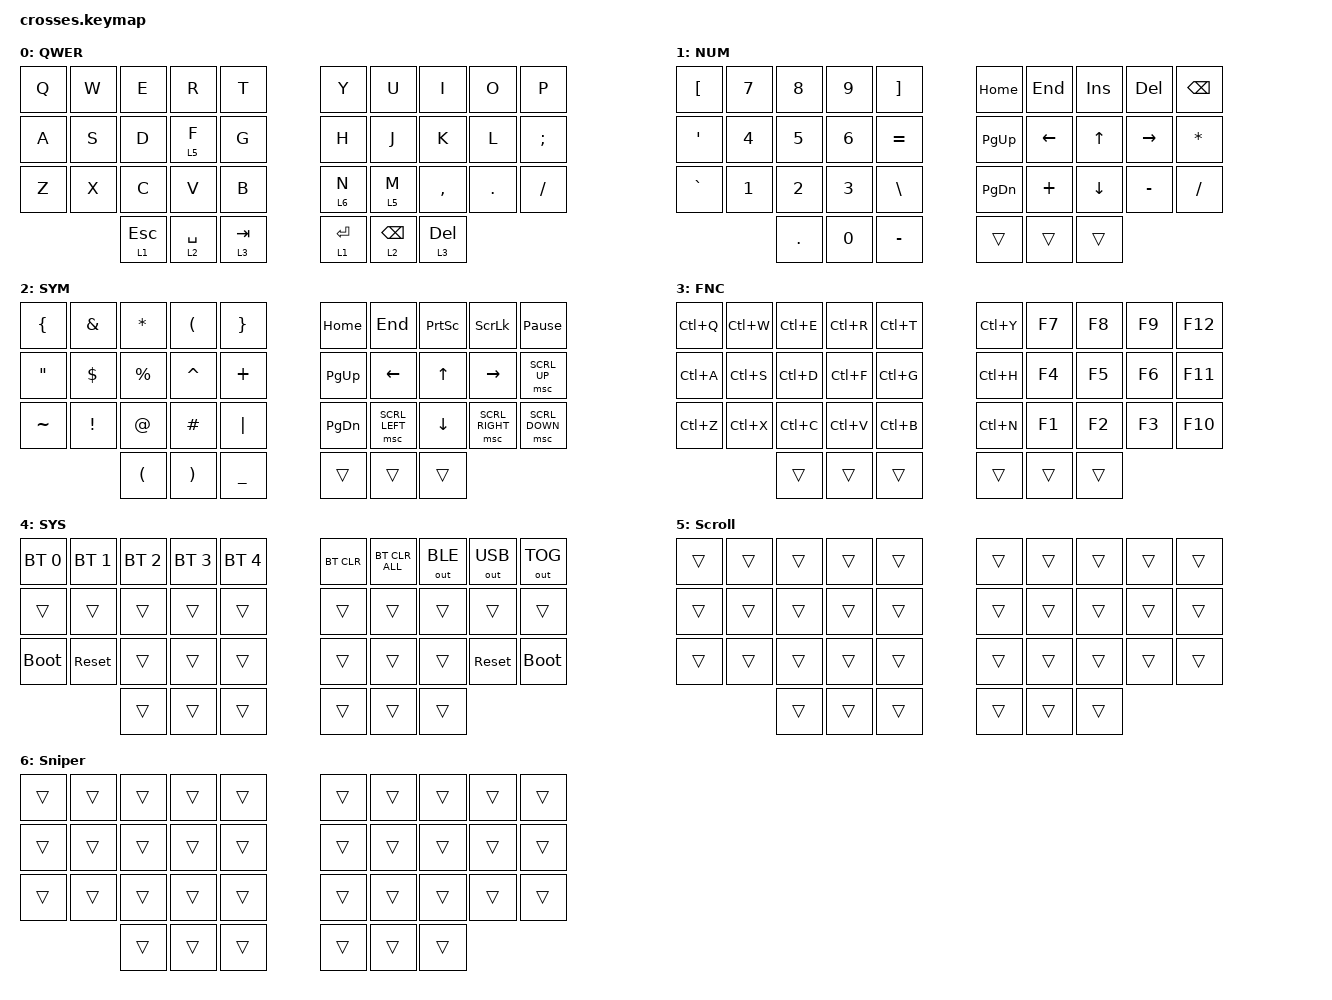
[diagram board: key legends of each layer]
#include <behaviors.dtsi>
#include <dt-bindings/zmk/bt.h>
#include <dt-bindings/zmk/keys.h>
#include <dt-bindings/zmk/outputs.h>
#include <dt-bindings/zmk/pointing.h>

&lt {
    tapping-term-ms = <200>;
    flavor = "tap-preferred";
    quick-tap-ms = <180>;
};

/ {
    combos {
        compatible = "zmk,combos";

        combo_lshft {
            bindings = <&kp LSHFT>;
            key-positions = <13 12>;
            layers = <0 1 2 3>;
            slow-release;
            timeout-ms = <50>;
            require-prior-idle-ms = <100>;
        };

        combo_lctrl {
            bindings = <&kp LCTRL>;
            key-positions = <12 11>;
            layers = <0 1 2 3>;
            slow-release;
            timeout-ms = <50>;
            require-prior-idle-ms = <100>;
        };

        combo_lalt {
            bindings = <&kp LALT>;
            key-positions = <11 10>;
            layers = <0 1 2 3>;
            slow-release;
            timeout-ms = <50>;
            require-prior-idle-ms = <100>;
        };

        combo_lgui {
            bindings = <&kp LWIN>;
            key-positions = <14 13>;
            layers = <0 1 2 3>;
            slow-release;
            timeout-ms = <50>;
            require-prior-idle-ms = <100>;
        };

        combo_lshft_lctrl {
            bindings = <&kp LS(LCTRL)>;
            key-positions = <11 13 12>;
            layers = <0 1 2 3>;
            slow-release;
            timeout-ms = <50>;
            require-prior-idle-ms = <100>;
        };

        combo_lctrl_lalt {
            bindings = <&kp LC(LALT)>;
            key-positions = <11 10 12>;
            layers = <0 1 2 3>;
            slow-release;
            timeout-ms = <50>;
            require-prior-idle-ms = <100>;
        };

        combo_lshft_lalt {
            bindings = <&kp LS(LALT)>;
            key-positions = <10 13 12>;
            layers = <0 1 2 3>;
            slow-release;
            timeout-ms = <50>;
            require-prior-idle-ms = <100>;
        };

        combo_lctrl_lgui {
            bindings = <&kp LC(LWIN)>;
            key-positions = <10 13 12 11>;
            slow-release;
            layers = <0 1 2 3>;
            timeout-ms = <50>;
            require-prior-idle-ms = <100>;
        };

        combo_rshft {
            bindings = <&kp RSHFT>;
            key-positions = <16 17>;
            slow-release;
            layers = <0 1 2 3>;
            timeout-ms = <50>;
            require-prior-idle-ms = <100>;
        };

        combo_rctrl {
            bindings = <&kp LCTRL>;
            key-positions = <17 18>;
            slow-release;
            layers = <0 1 2 3>;
            timeout-ms = <50>;
            require-prior-idle-ms = <100>;
        };

        combo_ralt {
            bindings = <&kp LALT>;
            key-positions = <18 19>;
            slow-release;
            layers = <0 1 2 3>;
            timeout-ms = <50>;
            require-prior-idle-ms = <100>;
        };

        combo_rgui {
            bindings = <&kp RWIN>;
            key-positions = <15 16>;
            slow-release;
            layers = <0 1 2 3>;
            timeout-ms = <50>;
            require-prior-idle-ms = <100>;
        };

        combo_rshft_rctrl {
            bindings = <&kp RS(LCTRL)>;
            key-positions = <16 17 18>;
            layers = <0 1 2 3>;
            timeout-ms = <50>;
            require-prior-idle-ms = <100>;
        };

        combo_rctrl_ralt {
            bindings = <&kp LC(LALT)>;
            key-positions = <19 18 17>;
            slow-release;
            layers = <0 1 2 3>;
            timeout-ms = <50>;
            require-prior-idle-ms = <100>;
        };

        combo_rshft_ralt {
            bindings = <&kp RS(LALT)>;
            key-positions = <16 17 19>;
            slow-release;
            layers = <0 1 2 3>;
            timeout-ms = <50>;
            require-prior-idle-ms = <100>;
        };

        combo_rctrl_rwin {
            bindings = <&kp LC(RWIN)>;
            key-positions = <16 17 18 19>;
            slow-release;
            layers = <0 1 2 3>;
            timeout-ms = <50>;
            require-prior-idle-ms = <100>;
        };

        combo_kr_en {
            bindings = <&kp RALT>;
            key-positions = <16 18>;
            layers = <0 1 2 3>;
            timeout-ms = <50>;
            require-prior-idle-ms = <100>;
        };

        combo_hanja {
            bindings = <&kp RCTRL>;
            key-positions = <17 19>;
            layers = <0 1 2 3>;
            timeout-ms = <50>;
            require-prior-idle-ms = <100>;
        };

        combo_prev {
            bindings = <&mkp MB4>;
            key-positions = <15 25>;
            layers = <0 1 2 3>;
            timeout-ms = <50>;
            require-prior-idle-ms = <100>;
        };

        combo_next {
            bindings = <&mkp MB5>;
            key-positions = <16 26>;
            layers = <0 1 2 3>;
            timeout-ms = <50>;
            require-prior-idle-ms = <100>;
        };

        combo_undo {
            bindings = <&kp LC(Z)>;
            key-positions = <20 21>;
            layers = <0 1 2 3>;
            timeout-ms = <50>;
            require-prior-idle-ms = <100>;
        };

        combo_copy {
            bindings = <&kp LC(C)>;
            key-positions = <21 21 22>;
            layers = <0 1 2 3>;
            timeout-ms = <50>;
            require-prior-idle-ms = <100>;
        };

        combo_paste {
            bindings = <&kp LC(V)>;
            key-positions = <22 23>;
            layers = <0 1 2 3>;
            timeout-ms = <50>;
            require-prior-idle-ms = <100>;
        };

        combo_cut {
            bindings = <&kp LC(X)>;
            key-positions = <23 21>;
            layers = <0 1 2 3>;
            timeout-ms = <50>;
            require-prior-idle-ms = <100>;
        };

        combo_lclk {
            bindings = <&mkp LCLK>;
            key-positions = <25 26>;
            slow-release;
            layers = <0 1 2 3>;
            timeout-ms = <50>;
            require-prior-idle-ms = <100>;
        };

        combo_rclk {
            bindings = <&mkp RCLK>;
            key-positions = <26 27>;
            slow-release;
            layers = <0 1 2 3>;
            timeout-ms = <50>;
            require-prior-idle-ms = <100>;
        };

        combo_mclk {
            bindings = <&mkp MCLK>;
            key-positions = <26 25 27>;
            slow-release;
            layers = <0 1 2 3>;
            timeout-ms = <50>;
            require-prior-idle-ms = <100>;
        };

        combo_caps {
            bindings = <&kp CAPS>;
            key-positions = <11 13>;
            layers = <0 1 2 3>;
            timeout-ms = <50>;
            require-prior-idle-ms = <100>;
        };

        combo_enter {
            bindings = <&kp ENTER>;
            key-positions = <24 14>;
            layers = <1>;
            timeout-ms = <50>;
            require-prior-idle-ms = <100>;
        };

        combo_plus {
            bindings = <&kp PLUS>;
            key-positions = <14 4>;
            layers = <1>;
            timeout-ms = <50>;
            require-prior-idle-ms = <100>;
        };

        combo_minus {
            bindings = <&kp MINUS>;
            key-positions = <13 3>;
            layers = <1>;
            timeout-ms = <50>;
            require-prior-idle-ms = <100>;
        };

        combo_multiply {
            bindings = <&kp ASTRK>;
            key-positions = <12 2>;
            layers = <1>;
            timeout-ms = <50>;
            require-prior-idle-ms = <100>;
        };

        combo_divide {
            bindings = <&kp SLASH>;
            key-positions = <11 1>;
            layers = <1>;
            timeout-ms = <50>;
            require-prior-idle-ms = <100>;
        };

        combo_comma {
            bindings = <&kp COMMA>;
            key-positions = <11 21>;
            layers = <1>;
            timeout-ms = <50>;
            require-prior-idle-ms = <100>;
        };

        combo_lclk2 {
            bindings = <&mkp LCLK>;
            key-positions = <30 31>;
            slow-release;
            layers = <0 1 2 3>;
            timeout-ms = <50>;
            require-prior-idle-ms = <100>;
        };

        combo_rclk2 {
            bindings = <&mkp RCLK>;
            key-positions = <31 32>;
            slow-release;
            layers = <0 1 2 3>;
            timeout-ms = <50>;
            require-prior-idle-ms = <100>;
        };

        combo_lclk3 {
            bindings = <&mkp LCLK>;
            key-positions = <34 33>;
            slow-release;
            layers = <0 1 2 3>;
            timeout-ms = <50>;
            require-prior-idle-ms = <100>;
        };

        combo_rclk3 {
            bindings = <&mkp RCLK>;
            key-positions = <35 34>;
            slow-release;
            layers = <0 1 2 3>;
            timeout-ms = <50>;
            require-prior-idle-ms = <100>;
        };

        combo_next2 {
            bindings = <&mkp MB5>;
            key-positions = <13 23>;
            timeout-ms = <50>;
            slow-release;
            require-prior-idle-ms = <100>;
            layers = <0 1 2 3>;
        };

        combo_prev2 {
            bindings = <&mkp MB4>;
            key-positions = <12 22>;
            timeout-ms = <50>;
            slow-release;
            require-prior-idle-ms = <100>;
            layers = <0 1 2 3>;
        };

        combo_mclk2 {
            bindings = <&mkp MCLK>;
            key-positions = <14 24>;
            timeout-ms = <50>;
            slow-release;
            require-prior-idle-ms = <100>;
            layers = <0 2 3>;
        };
    };

    keymap {
        compatible = "zmk,keymap";

        Default_layer {
            bindings = <
&kp Q  &kp W  &kp E      &kp R        &kp T        &kp Y        &kp U       &kp I      &kp O    &kp P
&kp A  &kp S  &kp D      &lt 5 F      &kp G        &kp H        &kp J       &kp K      &kp L    &kp SEMI
&kp Z  &kp X  &kp C      &kp V        &kp B        &lt 6 N      &lt 5 M     &kp COMMA  &kp DOT  &kp SLASH
              &lt 1 ESC  &lt 2 SPACE  &lt 3 TAB    &lt 1 ENTER  &lt 2 BSPC  &lt 3 DEL
            >;

            label = "QWER";
        };

        Num_layer {
            bindings = <
&kp LBKT   &kp N7  &kp N8   &kp N9  &kp RBKT     &kp HOME   &kp END   &kp INS   &kp DEL    &kp BSPC
&kp SQT    &kp N4  &kp N5   &kp N6  &kp EQUAL    &kp PG_UP  &kp LEFT  &kp UP    &kp RIGHT  &kp STAR
&kp GRAVE  &kp N1  &kp N2   &kp N3  &kp BSLH     &kp PG_DN  &kp PLUS  &kp DOWN  &kp MINUS  &kp SLASH
                   &kp DOT  &kp N0  &kp MINUS    &trans     &trans    &trans
            >;

            label = "NUM";
        };

        Sym_layer {
            bindings = <
&kp LBRC   &kp AMPS  &kp ASTRK  &kp LPAR   &kp RBRC     &kp HOME   &kp END         &kp PRINTSCREEN  &kp SCROLLLOCK   &kp PAUSE_BREAK
&kp DQT    &kp DLLR  &kp PRCNT  &kp CARET  &kp PLUS     &kp PG_UP  &kp LEFT        &kp UP           &kp RIGHT        &msc SCRL_UP
&kp TILDE  &kp EXCL  &kp AT     &kp HASH   &kp PIPE     &kp PG_DN  &msc SCRL_LEFT  &kp DOWN         &msc SCRL_RIGHT  &msc SCRL_DOWN
                     &kp LPAR   &kp RPAR   &kp UNDER    &trans     &trans          &trans
            >;

            label = "SYM";
        };

        Fnc_layer {
            bindings = <
&kp LC(Q)  &kp LC(W)  &kp LC(E)  &kp LC(R)  &kp LC(T)    &kp LC(Y)  &kp F7  &kp F8  &kp F9  &kp F12
&kp LC(A)  &kp LC(S)  &kp LC(D)  &kp LC(F)  &kp LC(G)    &kp LC(H)  &kp F4  &kp F5  &kp F6  &kp F11
&kp LC(Z)  &kp LC(X)  &kp LC(C)  &kp LC(V)  &kp LC(B)    &kp LC(N)  &kp F1  &kp F2  &kp F3  &kp F10
                      &trans     &trans     &trans       &trans     &trans  &trans
            >;

            label = "FNC";
        };

        system_layer {
            bindings = <
&bt BT_SEL 0  &bt BT_SEL 1  &bt BT_SEL 2  &bt BT_SEL 3  &bt BT_SEL 4    &bt BT_CLR  &bt BT_CLR_ALL  &out OUT_BLE  &out OUT_USB  &out OUT_TOG
&trans        &trans        &trans        &trans        &trans          &trans      &trans          &trans        &trans        &trans
&bootloader   &sys_reset    &trans        &trans        &trans          &trans      &trans          &trans        &sys_reset    &bootloader
                            &trans        &trans        &trans          &trans      &trans          &trans
            >;

            label = "SYS";
        };

        Scroll {
            bindings = <
&trans  &trans  &trans  &trans  &trans    &trans  &trans  &trans  &trans  &trans
&trans  &trans  &trans  &trans  &trans    &trans  &trans  &trans  &trans  &trans
&trans  &trans  &trans  &trans  &trans    &trans  &trans  &trans  &trans  &trans
                &trans  &trans  &trans    &trans  &trans  &trans
            >;

            label = "Scroll";
        };

        Sniper {
            bindings = <
&trans  &trans  &trans  &trans  &trans    &trans  &trans  &trans  &trans  &trans
&trans  &trans  &trans  &trans  &trans    &trans  &trans  &trans  &trans  &trans
&trans  &trans  &trans  &trans  &trans    &trans  &trans  &trans  &trans  &trans
                &trans  &trans  &trans    &trans  &trans  &trans
            >;

            label = "Sniper";
        };

        /* layer_2 {
            bindings = <
&none  &none   &none    &none   &none         &none         &kp N1         &none         &none     &none  &none   &to 0
&none  &none   &none    &none   &none         &none         &none         &none          &rgb_ug RGB_BRD &rgb_ug RGB_BRI  &rgb_ug RGB_EFF   &rgb_ug RGB_TOG
&none  &none   &none    &none   &none         &none         &none         &mkp LCLK     &mkp RCLK  &none  &none   &none
&none  &none   &none    &none   &bt BT_NXT  &bt BT_CLR    &none         &none         &none     &none  &none   &none
                                   &none         &none         &none         &none         &none
                                                 &none         &none         &none
            >;
       
            
        };

       Mouse {
            bindings = <
&none        &none         &none         &none         &none      &none         &none       &none      &none         &none         &none         &none
&none        &bt BT_SEL 0  &bt BT_SEL 1  &bt BT_SEL 3  &none      &bt BT_CLR    &bt BT_CLR  &none      &bt BT_SEL 2  &bt BT_SEL 1  &bt BT_SEL 0  &none
&none        &trans        &trans        &mkp MCLK     &trans     &none         &none       &trans     &mkp MCLK     &trans        &trans        &none
&bootloader  &trans        &mkp RCLK     &mo 4         &mkp LCLK  &mo 5         &mo 5       &mkp LCLK  &mo 4         &mkp RCLK     &trans        &bootloader
                                         &mo 5         &mkp LCLK  &mkp RCLK     &mkp RCLK   &mkp LCLK
                                                       &none      &trans        &trans
            >;

            
        };

        layer_4 {
            bindings = <
&trans  &trans  &trans     &trans     &trans     &trans       &trans     &trans     &trans     &trans     &trans  &trans
&trans  &trans  &trans     &trans     &trans     &trans       &trans     &trans     &trans     &trans     &trans  &trans
&trans  &trans  &trans     &mkp MCLK  &trans     &trans       &trans     &trans     &mkp MCLK  &trans     &trans  &trans
&trans  &trans  &mkp RCLK  &trans     &mkp LCLK  &trans       &trans     &mkp LCLK  &trans     &mkp RCLK  &trans  &trans
                           &trans     &mkp LCLK  &mkp RCLK    &mkp RCLK  &mkp LCLK
                                      &trans     &trans       &trans
            >;
                
                
               
        };

        layer_5 {
            bindings = <
&trans  &trans  &trans     &trans     &trans     &trans       &trans     &trans     &trans     &trans     &trans  &trans
&trans  &trans  &trans     &trans     &trans     &trans       &trans     &trans     &trans     &trans     &trans  &trans
&trans  &trans  &trans     &mkp MCLK  &trans     &trans       &trans     &trans     &mkp MCLK  &trans     &trans  &trans
&trans  &trans  &mkp RCLK  &trans     &mkp LCLK  &trans       &trans     &mkp LCLK  &trans     &mkp RCLK  &trans  &trans
                           &trans     &mkp LCLK  &mkp RCLK    &mkp RCLK  &mkp LCLK
                                      &trans     &trans       &trans
            >;
                
                
        };*/
    };

    conditional_layers {
        compatible = "zmk,conditional-layers";

        sys_layer {
            if-layers = <1 3>;
            then-layer = <4>;
        };
    };
};
